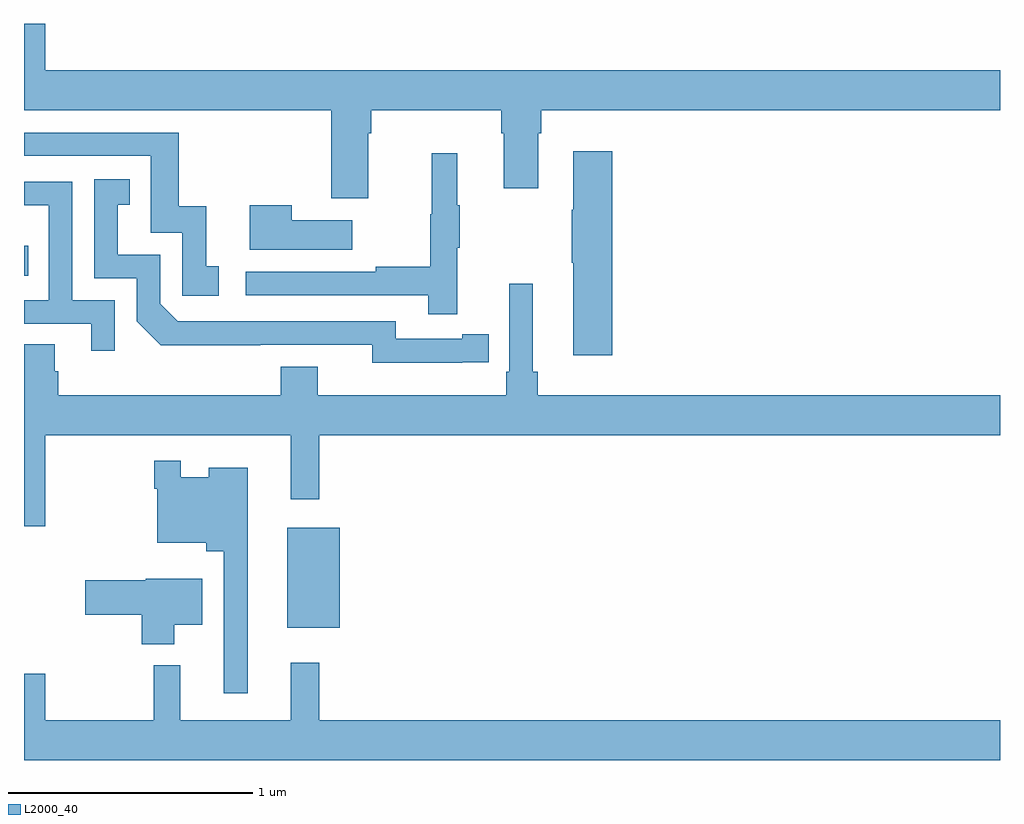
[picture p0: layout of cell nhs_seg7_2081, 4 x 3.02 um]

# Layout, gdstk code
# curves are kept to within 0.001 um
import gdstk
lib = gdstk.Library(unit=1e-6, precision=1e-09)
def R(c, l, rs):  # rectangles x0, y0, x1, y1
    for r in rs: c.add(gdstk.rectangle(r[:2], r[2:], *l))
def P(c, l, *ps):  # polygons
    for p in ps: c.add(gdstk.Polygon(p, *l))
L2000_40 = (2000, 40)

nhs_seg7_2081 = lib.new_cell('nhs_seg7_2081')
R(nhs_seg7_2081, L2000_40, [(250.079,1001.159,250.294,1001.569), (249,1002.6,249.017,1002.723)])
P(nhs_seg7_2081, L2000_40, [(250.411,1003.184),(250.424,1003.184),(250.424,1003.28),(250.955,1003.28),(250.955,1003.184),(250.967,1003.184),(250.967,1002.96),(251.107,1002.96),(251.107,1003.184),(251.12,1003.184),(251.12,1003.28),(253,1003.28),(253,1003.444),(249.088,1003.444),(249.088,1003.633),(249,1003.633),(249,1003.28),(250.259,1003.28),(250.259,1002.918),(250.411,1002.918)],
  [(249.799,1002.639),(249.746,1002.639),(249.746,1002.886),(249.635,1002.886),(249.635,1003.188),(249,1003.188),(249,1003.092),(249.519,1003.092),(249.519,1002.777),(249.648,1002.777),(249.648,1002.519),(249.799,1002.519)],
  [(251.411,1003.111),(251.252,1003.111),(251.252,1002.872),(251.245,1002.872),(251.245,1002.655),(251.252,1002.655),(251.252,1002.276),(251.411,1002.276)],
  [(250.775,1002.715),(250.786,1002.715),(250.786,1002.889),(250.775,1002.889),(250.775,1003.102),(250.672,1003.102),(250.672,1002.852),(250.665,1002.852),(250.665,1002.638),(250.441,1002.638),(250.441,1002.618),(249.909,1002.618),(249.909,1002.522),(250.657,1002.522),(250.657,1002.444),(250.775,1002.444)],
  [(250.796,1002.246),(250.904,1002.246),(250.904,1002.362),(250.796,1002.362),(250.796,1002.342),(250.524,1002.342),(250.524,1002.414),(249.63,1002.414),(249.558,1002.486),(249.558,1002.687),(249.385,1002.687),(249.385,1002.891),(249.434,1002.891),(249.434,1002.997),(249.288,1002.997),(249.288,1002.591),(249.462,1002.591),(249.462,1002.414),(249.56,1002.317),(250.428,1002.318),(250.428,1002.245)],
  [(249.372,1002.501),(249.198,1002.501),(249.198,1002.987),(249,1002.987),(249,1002.89),(249.102,1002.89),(249.102,1002.501),(249,1002.501),(249,1002.405),(249.275,1002.405),(249.275,1002.294),(249.372,1002.294)],
  [(250.345,1002.829),(250.097,1002.829),(250.097,1002.889),(249.926,1002.889),(249.926,1002.707),(250.345,1002.707)],
  [(249.088,1001.948),(250.094,1001.948),(250.094,1001.685),(250.211,1001.685),(250.211,1001.948),(253,1001.948),(253,1002.112),(251.105,1002.112),(251.105,1002.208),(251.086,1002.208),(251.086,1002.568),(250.989,1002.568),(250.989,1002.208),(250.976,1002.208),(250.976,1002.112),(250.204,1002.112),(250.204,1002.229),(250.052,1002.229),(250.052,1002.112),(249.14,1002.112),(249.14,1002.21),(249.127,1002.21),(249.127,1002.32),(249,1002.32),(249,1001.574),(249.088,1001.574)],
  [(249.916,1001.815),(249.758,1001.815),(249.758,1001.776),(249.642,1001.776),(249.642,1001.842),(249.534,1001.842),(249.534,1001.729),(249.546,1001.729),(249.546,1001.507),(249.746,1001.507),(249.746,1001.471),(249.819,1001.471),(249.819,1000.89),(249.916,1000.89)],
  [(249.616,1001.171),(249.73,1001.171),(249.73,1001.359),(249.498,1001.359),(249.498,1001.354),(249.252,1001.354),(249.252,1001.212),(249.482,1001.212),(249.482,1001.09),(249.616,1001.09)],
  [(253,1000.78),(250.211,1000.78),(250.211,1001.014),(250.094,1001.014),(250.094,1000.78),(249.641,1000.78),(249.641,1001.005),(249.531,1001.005),(249.531,1000.78),(249.088,1000.78),(249.088,1000.969),(249,1000.969),(249,1000.616),(253,1000.616)])

lib.write_gds('nhs_seg7_2081.gds')
